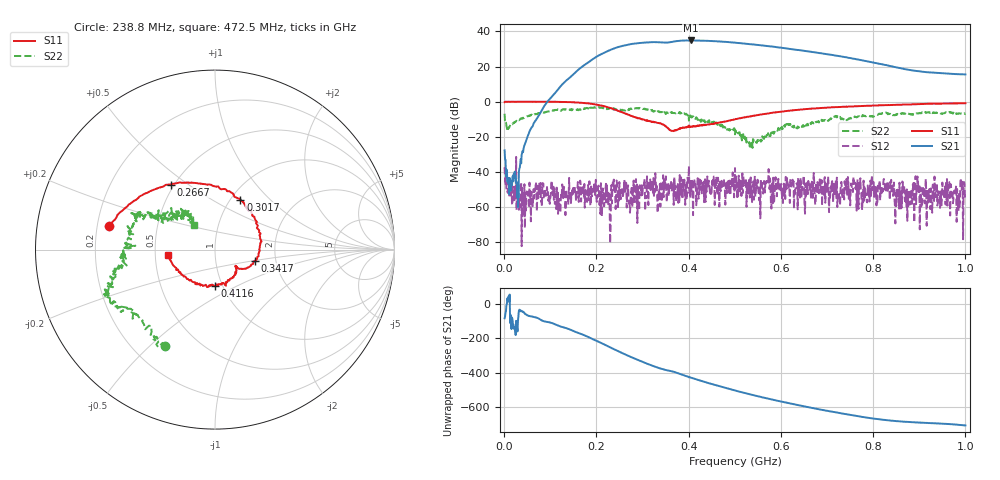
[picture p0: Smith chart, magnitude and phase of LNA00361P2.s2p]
! Created with skrf 1.9.0 (http://scikit-rf.org).
# Hz S RI R 50.0
!freq ReS11 ImS11 ReS21 ImS21 ReS12 ImS12 ReS22 ImS22
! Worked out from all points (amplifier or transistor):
!   1001 points, 1 MHz to 1 GHz, reference 50 ohm
!   highest |S21| = 34.9 dB at 404.6 MHz (marker M1)
!   |S21| within 3 dB of that: 258.3 MHz to 564.7 MHz (306.4 MHz wide, 74.5 % of centre)
!   unconditionally stable (mu >= 1): 4.164 MHz to 74.62 MHz; 304.7 MHz to 400.2 MHz; 400.8 MHz to end of sweep (the widest 3 of 30)
!   at 166.8 MHz: K = 2.29, MAG = 31.8 dB, |S12| = -56.9 dB
!   at 500.5 MHz: K = 1.03, MAG = 34.7 dB, |S12| = -37.8 dB
!   at 1 GHz: K = 5.60, MAG = 23.8 dB, |S12| = -52.9 dB
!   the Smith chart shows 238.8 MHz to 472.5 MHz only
!   S11 on the Smith chart (normalised r, x): 238.8 MHz: 0.25, +0.10; 266.7 MHz: 0.48, +0.43; 301.7 MHz: 1.11, +0.68; 341.7 MHz: 1.56, -0.20; 411.6 MHz: 0.92, -0.39; 472.5 MHz: 0.59, -0.04
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1000000  0.9737 0.00515  0.00354 -0.0409  -0.0136 -0.000588  0.3362 0.3039
1.08892e8  0.5097 -0.8533  -0.7878 -1.485  0.00307 0.00158  0.4229 -0.3719
1.67833e8  -0.2549 -0.8935  -9.667 -0.6097  0.0026 -0.00246  0.0314 -0.6186
2.08792e8  -0.6881 -0.3793  -15.48 15.79  -0.000598 -0.000206  -0.2105 -0.6396
2.38762e8  -0.5889 0.1293  -3.154 33.02  0.00284 -0.000856  -0.2796 -0.5383
2.66734e8  -0.2477 0.3627  20.31 36.4  -0.00196 -0.00132  -0.4537 -0.339
3.01699e8  0.1417 0.2761  44.63 17.51  -0.00399 0.000724  -0.5979 -0.1887
3.34666e8  0.2489 -0.00548  48.52 -9.924  -0.00247 0.00147  -0.5177 -0.0308
3.41659e8  0.2229 -0.0614  46.73 -14.73  -0.000685 0.00123  -0.5109 -0.0118
3.74626e8  0.1181 -0.1043  40.64 -34.28  0.00238 0.00154  -0.4332 0.1819
4.04596e8  0.0338 -0.1951  21.21 -51.34  0.00161 0.00565  -0.3223 0.1813
4.11589e8  -0.00104 -0.2034  16.03 -52.86  0.000994 0.0063  -0.2738 0.1927
4.41559e8  -0.1554 -0.1644  -7.441 -53.76  0.0023 0.00475  -0.1819 0.1918
4.72528e8  -0.2605 -0.0322  -26.38 -43.75  0.00358 -0.0011  -0.1189 0.1368
5.005e8  -0.2877 0.1339  -38 -29.67  0.0122 -0.00392  -0.0886 0.0777
5.4046e8  -0.2064 0.34  -41.76 -8.221  0.00537 -0.000425  -0.0789 0.0238
5.86414e8  -0.0012 0.494  -34.76 10.95  0.00254 -0.00125  -0.1255 -0.0594
6.25375e8  0.1891 0.5366  -23.92 19.89  0.00467 -0.00377  -0.1786 -0.0934
6.67333e8  0.3978 0.4985  -11.98 23.08  -0.00184 -0.00496  -0.2599 -0.048
7.51249e8  0.6732 0.2864  4.018 16.97  -0.00259 -0.00163  -0.3437 0.0491
8.34166e8  0.802 0.0188  7.446 7.546  -0.00219 -0.00276  -0.4167 0.156
1e9  0.7263 -0.5418  5.767 1.681  -0.00107 -0.00201  -0.1217 0.4388
